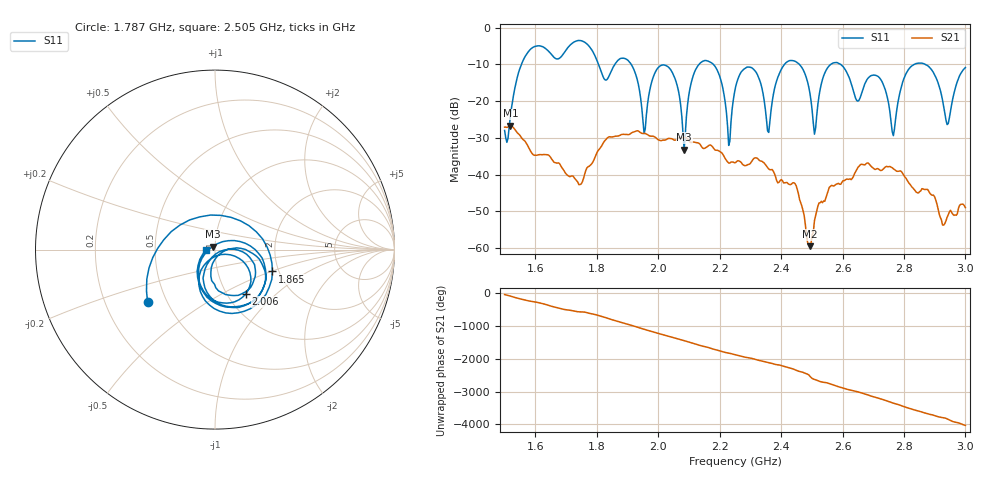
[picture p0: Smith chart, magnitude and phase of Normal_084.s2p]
# HZ S RI R 50
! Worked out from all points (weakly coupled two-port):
!   404 points, 1.5 GHz to 3 GHz, reference 50 ohm
!   highest |S21| = -26.69 dB at 1.519 GHz (marker M1); lowest = -59.5 dB at 2.494 GHz (marker M2)
!   lowest |S11| = -33.2 dB at 2.084 GHz (marker M3), VSWR 1.04, Z = 48.6 + j1.65 ohm
!   |S11| at or under -10 dB: 1.912 GHz to 2.133 GHz (220.9 MHz wide, 10.9 % of centre); 2.179 GHz to 2.411 GHz (231.9 MHz wide, 10.1 % of centre); 2.594 GHz to 2.834 GHz (240.4 MHz wide, 8.86 % of centre) (the widest 3 of 7)
!   S12 and S22 are empty: the file has one direction only
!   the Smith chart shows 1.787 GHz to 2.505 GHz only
!   S11 on the Smith chart (normalised r, x): 1.787 GHz: 0.39, -0.30; 1.865 GHz: 1.85, -0.51; 2.006 GHz: 1.22, -0.66; 2.505 GHz: 0.90, +0.00
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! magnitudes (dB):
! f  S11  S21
! 1.5 GHz  -28.0  -27.1
! 1.519 GHz  -24.2  -26.7
! 1.582 GHz  -6.1  -33.2
! 1.753 GHz  -3.7  -42.0
! 1.787 GHz  -6.4  -36.7
! 1.865 GHz  -9.3  -29.5
! 1.954 GHz  -28.8  -28.8
! 2.002 GHz  -10.7  -30.6
! 2.006 GHz  -10.4  -30.7
! 2.084 GHz  -33.2  -29.9
! 2.14 GHz  -9.4  -32.3
! 2.23 GHz  -32.1  -36.8
! 2.252 GHz  -16.2  -36.7
! 2.445 GHz  -9.2  -42.4
! 2.494 GHz  -17.8  -59.5
! 2.501 GHz  -22.6  -56.3
! 2.505 GHz  -26.0  -55.7
! 2.576 GHz  -9.5  -42.9
! 2.751 GHz  -20.9  -37.8
! 2.859 GHz  -9.7  -43.8
! 2.944 GHz  -26.1  -50.9
! 3 GHz  -10.9  -49.0
